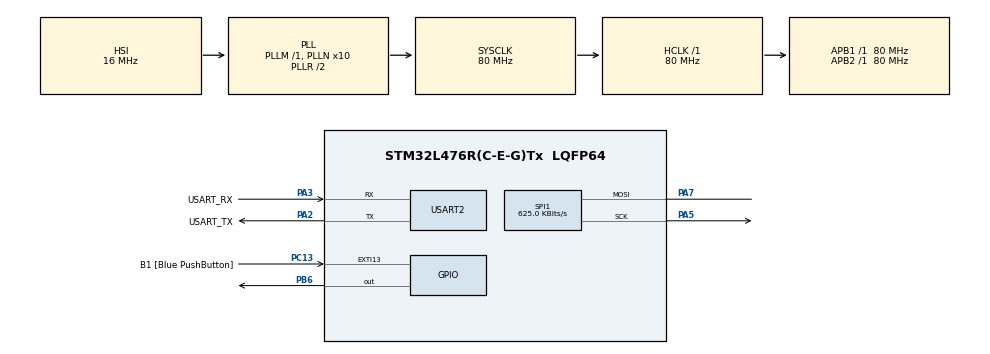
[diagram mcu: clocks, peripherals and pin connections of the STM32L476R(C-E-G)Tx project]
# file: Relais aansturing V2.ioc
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Mcu.Family=STM32L4
Mcu.Name=STM32L476R(C-E-G)Tx
Mcu.Package=LQFP64
NVIC.PriorityGroup=NVIC_PRIORITYGROUP_4
PA13\ (JTMS-SWDIO).GPIO_Label=TMS
PA13\ (JTMS-SWDIO).Mode=Serial_Wire
PA13\ (JTMS-SWDIO).Signal=SYS_JTMS-SWDIO
PA14\ (JTCK-SWCLK).GPIO_Label=TCK
PA14\ (JTCK-SWCLK).Mode=Serial_Wire
PA14\ (JTCK-SWCLK).Signal=SYS_JTCK-SWCLK
PA2.GPIO_Label=USART_TX
PA2.GPIO_Mode=GPIO_MODE_AF_PP
PA2.GPIO_PuPd=GPIO_NOPULL
PA2.GPIO_Speed=GPIO_SPEED_FREQ_VERY_HIGH
PA2.Mode=Asynchronous
PA2.Signal=USART2_TX
PA3.GPIO_Label=USART_RX
PA3.GPIO_Mode=GPIO_MODE_AF_PP
PA3.GPIO_PuPd=GPIO_NOPULL
PA3.GPIO_Speed=GPIO_SPEED_FREQ_VERY_HIGH
PA3.Mode=Asynchronous
PA3.Signal=USART2_RX
PA5.Mode=Simplex_Bidirectional_Master
PA5.Signal=SPI1_SCK
PA7.Mode=Simplex_Bidirectional_Master
PA7.Signal=SPI1_MOSI
PB3\ (JTDO-TRACESWO).GPIO_Label=SWO
PB3\ (JTDO-TRACESWO).Signal=SYS_JTDO-SWO
PB6.PinState=GPIO_PIN_SET
PB6.Signal=GPIO_Output
PC13.GPIO_Label=B1 [Blue PushButton]
PC13.GPIO_ModeDefaultEXTI=GPIO_MODE_IT_FALLING
PC13.GPIO_PuPd=GPIO_NOPULL
PC13.Signal=GPXTI13
PC14-OSC32_IN\ (PC14).Mode=LSE-External-Oscillator
PC14-OSC32_IN\ (PC14).Signal=RCC_OSC32_IN
PC15-OSC32_OUT\ (PC15).Mode=LSE-External-Oscillator
PC15-OSC32_OUT\ (PC15).Signal=RCC_OSC32_OUT
PH0-OSC_IN\ (PH0).Signal=RCC_OSC_IN
PH1-OSC_OUT\ (PH1).Signal=RCC_OSC_OUT
ProjectManager.HeapSize=0x200
ProjectManager.StackSize=0x400
ProjectManager.TargetToolchain=STM32CubeIDE
RCC.ADCFreq_Value=64000000
RCC.AHBFreq_Value=80000000
RCC.APB1Freq_Value=80000000
RCC.APB1TimFreq_Value=80000000
RCC.APB2Freq_Value=80000000
RCC.APB2TimFreq_Value=80000000
RCC.CortexFreq_Value=80000000
RCC.HCLKFreq_Value=80000000
RCC.HSE_VALUE=8000000
RCC.HSI_VALUE=16000000
RCC.MSI_VALUE=4000000
RCC.PLLN=10
RCC.PLLSourceVirtual=RCC_PLLSOURCE_HSI
RCC.PREFETCH_ENABLE=1
RCC.SYSCLKFreq_VALUE=80000000
RCC.SYSCLKSource=RCC_SYSCLKSOURCE_PLLCLK
RCC.USBFreq_Value=64000000
RCC.VCOOutputFreq_Value=160000000
SPI1.BaudRatePrescaler=SPI_BAUDRATEPRESCALER_128
SPI1.CalculateBaudRate=625.0 KBits/s
SPI1.DataSize=SPI_DATASIZE_8BIT
SPI1.Direction=SPI_DIRECTION_1LINE
SPI1.Mode=SPI_MODE_MASTER
SPI1.VirtualType=VM_MASTER
USART2.VirtualMode-Asynchronous=VM_ASYNC
board=NUCLEO-L476RG

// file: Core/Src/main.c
/* USER CODE BEGIN Header */
/**
  ******************************************************************************
  * @file           : main.c
  * @brief          : Main program body
  ******************************************************************************
  * @attention
  *
  * Copyright (c) 2024 STMicroelectronics.
  * All rights reserved.
  *
  * This software is licensed under terms that can be found in the LICENSE file
  * in the root directory of this software component.
  * If no LICENSE file comes with this software, it is provided AS-IS.
  *
  ******************************************************************************
  */
/* USER CODE END Header */
#include "main.h"

/* USER CODE BEGIN PD */
#define MAX4820_CS_PIN    GPIO_PIN_6   // De GPIO pin die verbonden is met CS
#define MAX4820_CS_PORT   GPIOB        // De GPIO poort die verbonden is met CS
/* USER CODE END PD */

SPI_HandleTypeDef hspi1;

UART_HandleTypeDef huart2;

void SystemClock_Config(void);
static void MX_GPIO_Init(void);
static void MX_USART2_UART_Init(void);
static void MX_SPI1_Init(void);
/* USER CODE BEGIN PFP */
void MAX4820_Select(void)
{
    HAL_GPIO_WritePin(MAX4820_CS_PORT, MAX4820_CS_PIN, GPIO_PIN_RESET); // CS low
}
void MAX4820_Deselect(void)
{
    HAL_GPIO_WritePin(MAX4820_CS_PORT, MAX4820_CS_PIN, GPIO_PIN_SET);   // CS high
}

void MAX4820_SendData(uint8_t data)
{
	uint8_t txData[1];
	txData[0] = data;

    MAX4820_Select();  // Activeren van CS
    HAL_SPI_Transmit(&hspi1, txData, 1, HAL_MAX_DELAY);  // Verzenden van 8 bits data
    MAX4820_Deselect();  // Deactiveren van CS
}

void MAX4820_60V_pos(void)
{
	MAX4820_SendData(0b00000101); //dec:5
	HAL_Delay(500);
}
void MAX4820_60V_neg(void)
{
	MAX4820_SendData(0b00001001); //dec: 9
	HAL_Delay(500);
}

/* USER CODE END PFP */

int main(void)
{

  /* MCU Configuration--------------------------------------------------------*/

  /* Reset of all peripherals, Initializes the Flash interface and the Systick. */
  HAL_Init();

  /* Configure the system clock */
  SystemClock_Config();

  /* Initialize all configured peripherals */
  MX_GPIO_Init();
  MX_USART2_UART_Init();
  MX_SPI1_Init();
  /* USER CODE BEGIN 2 */
 // MAX4820_60V_pos();
  MAX4820_60V_neg();
  /* USER CODE END 2 */

  /* Infinite loop */
  while (1)
  {

  }
}

void SystemClock_Config(void)
{
  RCC_OscInitTypeDef RCC_OscInitStruct = {0};
  RCC_ClkInitTypeDef RCC_ClkInitStruct = {0};

  /** Configure the main internal regulator output voltage
  */
  if (HAL_PWREx_ControlVoltageScaling(PWR_REGULATOR_VOLTAGE_SCALE1) != HAL_OK)
  {
    Error_Handler();
  }

  /** Initializes the RCC Oscillators according to the specified parameters
  * in the RCC_OscInitTypeDef structure.
  */
  RCC_OscInitStruct.OscillatorType = RCC_OSCILLATORTYPE_HSI;
  RCC_OscInitStruct.HSIState = RCC_HSI_ON;
  RCC_OscInitStruct.HSICalibrationValue = RCC_HSICALIBRATION_DEFAULT;
  RCC_OscInitStruct.PLL.PLLState = RCC_PLL_ON;
  RCC_OscInitStruct.PLL.PLLSource = RCC_PLLSOURCE_HSI;
  RCC_OscInitStruct.PLL.PLLM = 1;
  RCC_OscInitStruct.PLL.PLLN = 10;
  RCC_OscInitStruct.PLL.PLLP = RCC_PLLP_DIV7;
  RCC_OscInitStruct.PLL.PLLQ = RCC_PLLQ_DIV2;
  RCC_OscInitStruct.PLL.PLLR = RCC_PLLR_DIV2;
  if (HAL_RCC_OscConfig(&RCC_OscInitStruct) != HAL_OK)
  {
    Error_Handler();
  }

  /** Initializes the CPU, AHB and APB buses clocks
  */
  RCC_ClkInitStruct.ClockType = RCC_CLOCKTYPE_HCLK|RCC_CLOCKTYPE_SYSCLK
                              |RCC_CLOCKTYPE_PCLK1|RCC_CLOCKTYPE_PCLK2;
  RCC_ClkInitStruct.SYSCLKSource = RCC_SYSCLKSOURCE_PLLCLK;
  RCC_ClkInitStruct.AHBCLKDivider = RCC_SYSCLK_DIV1;
  RCC_ClkInitStruct.APB1CLKDivider = RCC_HCLK_DIV1;
  RCC_ClkInitStruct.APB2CLKDivider = RCC_HCLK_DIV1;

  if (HAL_RCC_ClockConfig(&RCC_ClkInitStruct, FLASH_LATENCY_4) != HAL_OK)
  {
    Error_Handler();
  }
}

static void MX_SPI1_Init(void)
{

  /* SPI1 parameter configuration*/
  hspi1.Instance = SPI1;
  hspi1.Init.Mode = SPI_MODE_MASTER;
  hspi1.Init.Direction = SPI_DIRECTION_1LINE;
  hspi1.Init.DataSize = SPI_DATASIZE_8BIT;
  hspi1.Init.CLKPolarity = SPI_POLARITY_LOW;
  hspi1.Init.CLKPhase = SPI_PHASE_1EDGE;
  hspi1.Init.NSS = SPI_NSS_SOFT;
  hspi1.Init.BaudRatePrescaler = SPI_BAUDRATEPRESCALER_128;
  hspi1.Init.FirstBit = SPI_FIRSTBIT_MSB;
  hspi1.Init.TIMode = SPI_TIMODE_DISABLE;
  hspi1.Init.CRCCalculation = SPI_CRCCALCULATION_DISABLE;
  hspi1.Init.CRCPolynomial = 7;
  hspi1.Init.CRCLength = SPI_CRC_LENGTH_DATASIZE;
  hspi1.Init.NSSPMode = SPI_NSS_PULSE_ENABLE;
  if (HAL_SPI_Init(&hspi1) != HAL_OK)
  {
    Error_Handler();
  }

}

static void MX_USART2_UART_Init(void)
{

  huart2.Instance = USART2;
  huart2.Init.BaudRate = 115200;
  huart2.Init.WordLength = UART_WORDLENGTH_8B;
  huart2.Init.StopBits = UART_STOPBITS_1;
  huart2.Init.Parity = UART_PARITY_NONE;
  huart2.Init.Mode = UART_MODE_TX_RX;
  huart2.Init.HwFlowCtl = UART_HWCONTROL_NONE;
  huart2.Init.OverSampling = UART_OVERSAMPLING_16;
  huart2.Init.OneBitSampling = UART_ONE_BIT_SAMPLE_DISABLE;
  huart2.AdvancedInit.AdvFeatureInit = UART_ADVFEATURE_NO_INIT;
  if (HAL_UART_Init(&huart2) != HAL_OK)
  {
    Error_Handler();
  }

}

static void MX_GPIO_Init(void)
{
  GPIO_InitTypeDef GPIO_InitStruct = {0};

  /* GPIO Ports Clock Enable */
  __HAL_RCC_GPIOC_CLK_ENABLE();
  __HAL_RCC_GPIOH_CLK_ENABLE();
  __HAL_RCC_GPIOA_CLK_ENABLE();
  __HAL_RCC_GPIOB_CLK_ENABLE();

  /*Configure GPIO pin Output Level */
  HAL_GPIO_WritePin(GPIOB, GPIO_PIN_6, GPIO_PIN_SET);

  /*Configure GPIO pin : B1_Pin */
  GPIO_InitStruct.Pin = B1_Pin;
  GPIO_InitStruct.Mode = GPIO_MODE_IT_FALLING;
  GPIO_InitStruct.Pull = GPIO_NOPULL;
  HAL_GPIO_Init(B1_GPIO_Port, &GPIO_InitStruct);

  /*Configure GPIO pin : PB6 */
  GPIO_InitStruct.Pin = GPIO_PIN_6;
  GPIO_InitStruct.Mode = GPIO_MODE_OUTPUT_PP;
  GPIO_InitStruct.Pull = GPIO_NOPULL;
  GPIO_InitStruct.Speed = GPIO_SPEED_FREQ_LOW;
  HAL_GPIO_Init(GPIOB, &GPIO_InitStruct);

}

void Error_Handler(void)
{
  __disable_irq();
  while (1)
  {
  }
}
